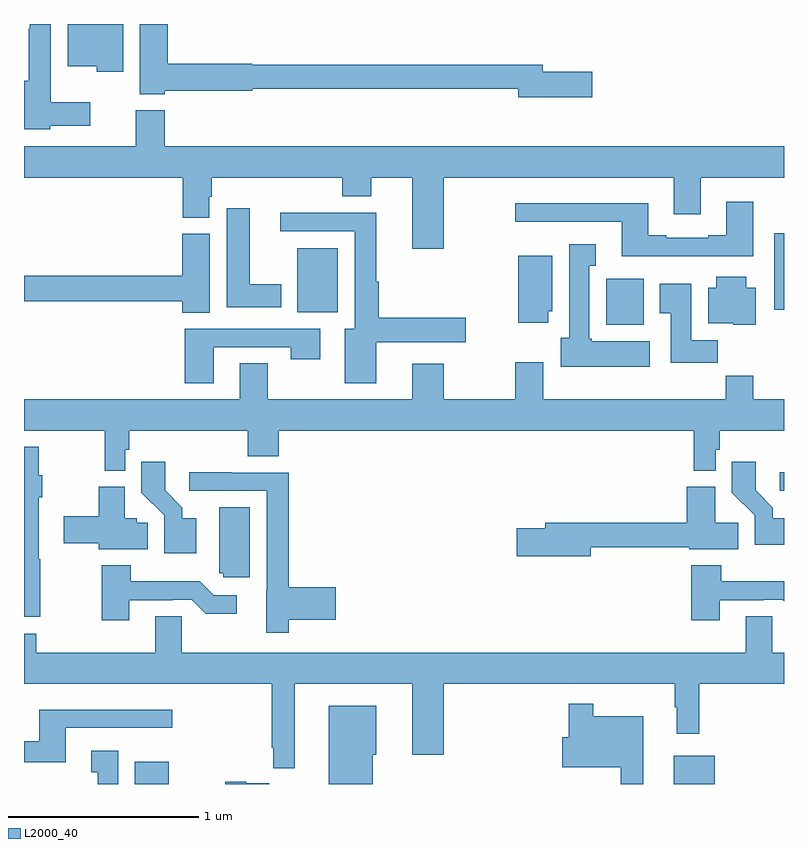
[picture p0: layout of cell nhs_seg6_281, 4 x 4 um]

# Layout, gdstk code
import gdstk
lib = gdstk.Library(unit=1e-6, precision=1e-09)
def R(c, l, rs):  # rectangles x0, y0, x1, y1
    for r in rs: c.add(gdstk.rectangle(r[:2], r[2:], *l))
def P(c, l, *ps):  # polygons
    for p in ps: c.add(gdstk.Polygon(p, *l))
L2000_40 = (2000, 40)

nhs_seg6_281 = lib.new_cell('nhs_seg6_281')
R(nhs_seg6_281, L2000_40, [(127.583,921.5,127.762,921.616), (130.421,921.5,130.636,921.649), (130.977,923.043,131,923.142), (130.064,923.918,130.261,924.16), (128.438,923.984,128.65,924.319), (130.949,923.996,131,924.4)])
P(nhs_seg6_281, L2000_40, [(127.137,924.965),(127.348,924.965),(127.348,925.087),(127.141,925.087),(127.141,925.5),(127.029,925.5),(127.029,925.475),(127.025,925.475),(127.025,925.201),(127,925.201),(127,924.947),(127.137,924.947)],
  [(129.991,925.25),(129.73,925.25),(129.73,925.286),(128.202,925.286),(128.202,925.292),(127.757,925.292),(127.757,925.5),(127.61,925.5),(127.61,925.13),(127.74,925.13),(127.74,925.15),(128.202,925.15),(128.202,925.158),(129.602,925.158),(129.602,925.115),(129.991,925.115)],
  [(127.522,925.5),(127.229,925.5),(127.229,925.277),(127.383,925.277),(127.383,925.25),(127.522,925.25)],
  [(129.208,924.692),(130.421,924.692),(130.421,924.498),(130.561,924.498),(130.561,924.692),(131,924.692),(131,924.856),(127.742,924.856),(127.742,925.045),(127.589,925.045),(127.589,924.856),(127,924.856),(127,924.692),(127.835,924.692),(127.835,924.481),(127.975,924.481),(127.975,924.591),(127.988,924.591),(127.988,924.692),(128.675,924.692),(128.675,924.593),(128.827,924.593),(128.827,924.692),(129.044,924.692),(129.044,924.318),(129.208,924.318)],
  [(130.837,924.565),(130.697,924.565),(130.697,924.388),(130.601,924.388),(130.601,924.375),(130.381,924.375),(130.381,924.388),(130.285,924.388),(130.285,924.556),(129.585,924.556),(129.585,924.459),(130.145,924.459),(130.145,924.278),(130.837,924.278)],
  [(128.353,924.13),(128.188,924.13),(128.188,924.529),(128.066,924.529),(128.066,924.008),(128.353,924.008)],
  [(128.854,923.825),(129.325,923.825),(129.325,923.955),(128.867,923.955),(128.867,924.143),(128.854,924.143),(128.854,924.506),(128.349,924.506),(128.349,924.408),(128.741,924.408),(128.741,923.896),(128.687,923.896),(128.687,923.61),(128.854,923.61)],
  [(127.978,924.396),(127.832,924.396),(127.832,924.176),(127,924.176),(127,924.04),(127.832,924.04),(127.832,923.98),(127.978,923.98)],
  [(130.294,923.83),(129.989,923.83),(129.989,923.844),(129.976,923.844),(129.976,924.227),(130.009,924.227),(130.009,924.34),(129.869,924.34),(129.869,923.85),(129.824,923.85),(129.824,923.696),(130.294,923.696)],
  [(129.76,923.988),(129.781,923.988),(129.781,924.28),(129.602,924.28),(129.602,923.928),(129.76,923.928)],
  [(130.852,924.112),(130.801,924.112),(130.801,924.169),(130.643,924.169),(130.643,924.112),(130.601,924.112),(130.601,923.924),(130.734,923.924),(130.734,923.918),(130.852,923.918)],
  [(130.652,923.836),(130.513,923.836),(130.513,924.133),(130.346,924.133),(130.346,923.977),(130.403,923.977),(130.403,923.718),(130.652,923.718)],
  [(127.999,923.799),(128.404,923.799),(128.404,923.736),(128.56,923.736),(128.56,923.895),(127.847,923.895),(127.847,923.61),(127.999,923.61)],
  [(127.533,923.259),(127.553,923.259),(127.553,923.36),(128.177,923.36),(128.177,923.224),(128.342,923.224),(128.342,923.36),(130.525,923.36),(130.525,923.15),(130.641,923.15),(130.641,923.259),(130.661,923.259),(130.661,923.36),(131,923.36),(131,923.524),(130.837,923.524),(130.837,923.648),(130.693,923.648),(130.693,923.524),(129.733,923.524),(129.733,923.719),(129.586,923.719),(129.586,923.524),(129.208,923.524),(129.208,923.713),(129.044,923.713),(129.044,923.524),(128.283,923.524),(128.283,923.714),(128.135,923.714),(128.135,923.524),(127,923.524),(127,923.36),(127.425,923.36),(127.425,923.15),(127.533,923.15)],
  [(127.086,922.682),(127.078,922.682),(127.078,923.01),(127.096,923.01),(127.096,923.124),(127.078,923.124),(127.078,923.275),(127,923.275),(127,922.379),(127.086,922.379)],
  [(127.906,922.9),(127.834,922.9),(127.834,922.955),(127.744,923.045),(127.744,923.197),(127.618,923.197),(127.618,923.034),(127.737,922.915),(127.737,922.764),(127.739,922.764),(127.739,922.715),(127.906,922.715)],
  [(131,922.9),(130.942,922.9),(130.942,922.955),(130.852,923.045),(130.852,923.197),(130.726,923.197),(130.726,923.034),(130.845,922.915),(130.845,922.76),(131,922.76)],
  [(128.393,922.364),(128.641,922.364),(128.641,922.535),(128.393,922.535),(128.393,923.139),(128.093,923.139),(128.093,923.142),(127.869,923.142),(127.869,923.043),(128.277,923.043),(128.277,922.518),(128.276,922.518),(128.276,922.296),(128.393,922.296)],
  [(129.982,922.747),(130.502,922.747),(130.502,922.736),(130.76,922.736),(130.76,922.874),(130.639,922.874),(130.639,923.065),(130.489,923.065),(130.489,922.876),(129.743,922.876),(129.743,922.847),(129.594,922.847),(129.594,922.7),(129.982,922.7)],
  [(127.652,922.874),(127.593,922.874),(127.593,922.899),(127.531,922.899),(127.531,923.065),(127.394,923.065),(127.394,922.908),(127.209,922.908),(127.209,922.766),(127.394,922.766),(127.394,922.736),(127.652,922.736)],
  [(128.188,922.957),(128.027,922.957),(128.027,922.608),(128.049,922.608),(128.049,922.587),(128.188,922.587)],
  [(127.555,922.467),(127.784,922.467),(127.784,922.47),(127.884,922.47),(127.957,922.397),(128.119,922.397),(128.119,922.494),(127.998,922.494),(127.925,922.567),(127.563,922.567),(127.563,922.651),(127.408,922.651),(127.408,922.362),(127.555,922.362)],
  [(130.663,922.467),(130.892,922.467),(130.892,922.47),(130.992,922.47),(131,922.462),(131,922.567),(130.671,922.567),(130.671,922.651),(130.511,922.651),(130.511,922.362),(130.663,922.362)],
  [(128.425,922.028),(129.044,922.028),(129.044,921.654),(129.208,921.654),(129.208,922.028),(130.425,922.028),(130.425,921.905),(130.436,921.905),(130.436,921.765),(130.553,921.765),(130.553,922.028),(131,922.028),(131,922.192),(130.938,922.192),(130.938,922.382),(130.799,922.382),(130.799,922.192),(127.83,922.192),(127.83,922.382),(127.691,922.382),(127.691,922.192),(127.064,922.192),(127.064,922.291),(127,922.291),(127,922.028),(128.304,922.028),(128.304,921.691),(128.311,921.691),(128.311,921.584),(128.425,921.584)],
  [(130.258,921.856),(129.997,921.856),(129.997,921.922),(129.868,921.922),(129.868,921.745),(129.834,921.745),(129.834,921.587),(130.141,921.587),(130.141,921.5),(130.258,921.5)],
  [(128.836,921.654),(128.854,921.654),(128.854,921.913),(128.603,921.913),(128.603,921.5),(128.836,921.5)],
  [(127.219,921.795),(127.78,921.795),(127.78,921.892),(127.079,921.892),(127.079,921.724),(127,921.724),(127,921.614),(127.219,921.614)],
  [(127.495,921.676),(127.355,921.676),(127.355,921.563),(127.388,921.563),(127.388,921.5),(127.495,921.5)],
  [(128.292,921.505),(128.17,921.505),(128.17,921.512),(128.058,921.512),(128.058,921.5),(128.292,921.5)])

lib.write_gds('nhs_seg6_281.gds')
